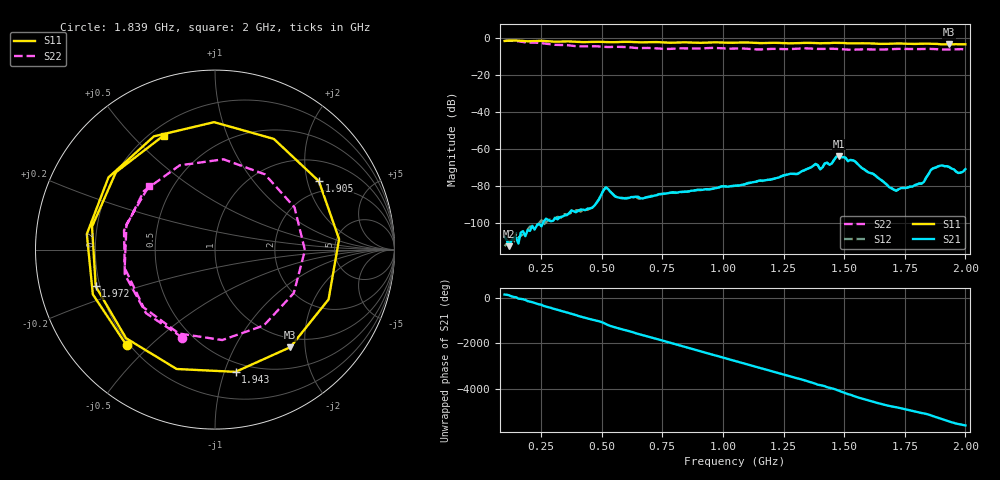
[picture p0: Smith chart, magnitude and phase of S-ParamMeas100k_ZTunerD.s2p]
!Keysight Technologies,N5242B,MY48420967,A.15.65.19
!Date: Monday, December 19, 2022 11:42:22
!Correction: S11(C  2-Port  )
!S21(C  2-Port  )
!S12(C  2-Port  )
!S22(C  2-Port  )
!S2P File: Measurements: S11, S21, S12, S22:
# Hz S  dB  R 50
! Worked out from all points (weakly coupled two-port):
!   201 points, 100 MHz to 2 GHz, reference 50 ohm
!   highest |S21| = -63.63 dB at 1.478 GHz (marker M1); lowest = -112.5 dB at 119 MHz (marker M2)
!   lowest |S11| = -3.3 dB at 1.933 GHz (marker M3), VSWR 5.39, Z = 41.8 - j86 ohm
!   |S11| at or under -10 dB: nowhere
!   |S22| runs from -6.1 to -1.2 dB; largest |S21 - S12| = 5e-06
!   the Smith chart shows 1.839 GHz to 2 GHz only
!   S11 on the Smith chart (normalised r, x): 1.839 GHz: 0.19, -0.42; 1.905 GHz: 1.61, +2.36; 1.943 GHz: 0.42, -1.09; 1.972 GHz: 0.18, -0.15; 2 GHz: 0.25, +0.62
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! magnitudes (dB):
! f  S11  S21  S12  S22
! 100 MHz  -1.4  -107.6  -112.6  -1.3
! 119 MHz  -1.1  -112.5  -109.7  -1.2
! 423 MHz  -2.0  -92.8  -93.1  -4.3
! 736.5 MHz  -2.0  -84.5  -84.3  -5.5
! 1.05 GHz  -2.3  -79.8  -79.9  -5.5
! 1.306 GHz  -2.5  -73.4  -73.5  -5.5
! 1.373 GHz  -2.4  -68.9  -68.9  -5.6
! 1.383 GHz  -2.5  -68.0  -68.0  -5.6
! 1.401 GHz  -2.6  -71.0  -70.9  -5.7
! 1.421 GHz  -2.5  -67.7  -67.7  -5.6
! 1.478 GHz  -2.4  -63.6  -63.6  -5.7
! 1.544 GHz  -2.7  -66.5  -66.5  -6.1
! 1.687 GHz  -2.9  -80.7  -80.5  -5.8
! 1.782 GHz  -3.0  -80.3  -80.1  -5.8
! 1.819 GHz  -2.9  -78.6  -78.7  -5.7
! 1.839 GHz  -2.8  -75.3  -75.3  -5.6
! 1.857 GHz  -2.9  -71.2  -71.3  -5.7
! 1.905 GHz  -3.2  -68.8  -68.8  -6.0
! 1.933 GHz  -3.3  -69.7  -69.7  -6.0
! 1.943 GHz  -3.2  -70.5  -70.6  -6.0
! 1.972 GHz  -3.2  -72.9  -72.9  -5.8
! 2 GHz  -3.1  -70.8  -70.8  -5.8
